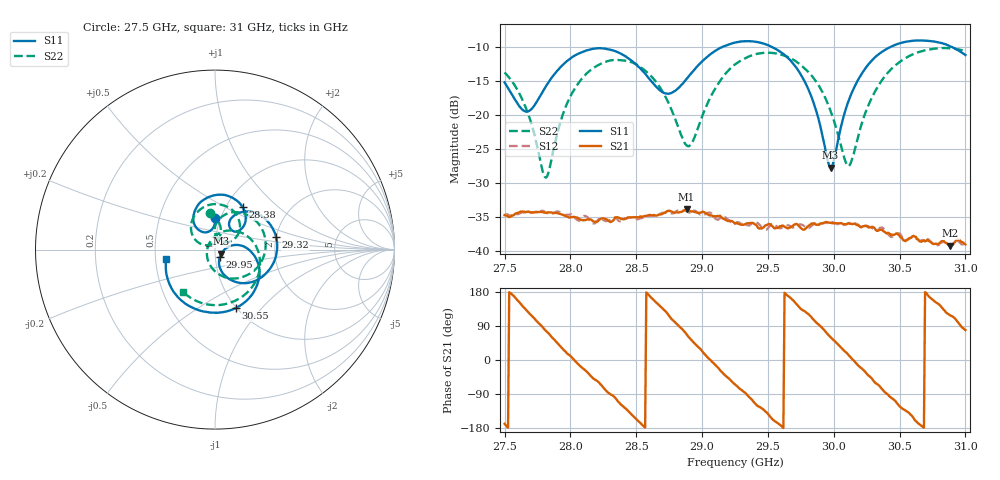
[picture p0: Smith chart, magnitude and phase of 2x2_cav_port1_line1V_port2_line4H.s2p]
!Created with skrf (http://scikit-rf.org).
# GHz S RI R 50.0
!freq ReS11 ImS11 ReS21 ImS21 ReS12 ImS12 ReS22 ImS22
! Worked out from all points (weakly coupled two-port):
!   401 points, 27.5 GHz to 31 GHz, reference 50 ohm
!   highest |S21| = -33.84 dB at 28.88 GHz (marker M1); lowest = -39.2 dB at 30.89 GHz (marker M2)
!   lowest |S11| = -27.7 dB at 29.98 GHz (marker M3), VSWR 1.09, Z = 53.5 - j2.37 ohm
!   |S11| at or under -10 dB: start of sweep to 29.16 GHz; 29.53 GHz to 30.43 GHz (905.1 MHz wide, 3.02 % of centre); 30.89454 GHz to end of sweep
!   |S22| runs from -29.2 to -10.2 dB; largest |S21 - S12| = 0.0015
!   S11 on the Smith chart (normalised r, x): 27.5 GHz: 0.94, +0.34; 28.38 GHz: 1.19, +0.61; 29.32 GHz: 2.00, +0.32; 29.95 GHz: 1.05, -0.08; 30.55 GHz: 1.00, -0.73; 31 GHz: 0.57, -0.06
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27.5  -0.00204 0.1733  -0.0181 -0.00371  -0.0183 -0.00401  -0.0305 0.2027
27.66625  -0.0371 0.099  -0.0128 0.0148  -0.0129 0.0145  0.0332 0.1047
27.815  -0.1056 0.1245  0.00444 0.0187  0.00516 0.0185  -0.0164 0.0306
27.955  -0.1141 0.2105  0.0167 0.00761  0.0169 0.00745  -0.0996 0.0447
28.08625  -0.053 0.2838  0.0161 -0.00572  0.0167 -0.00525  -0.134 0.1269
28.38375  0.1541 0.2355  -0.00803 -0.0154  -0.00747 -0.0147  0.0304 0.2509
28.6725  0.117 0.0997  -0.0153 0.0107  -0.0154 0.0105  0.1331 0.0957
28.8825  0.0836 0.164  0.00768 0.0188  0.00805 0.0179  0.0364 0.0475
29.06625  0.1832 0.2124  0.0184 -0.000282  0.0192 -0.000772  0.00329 0.1367
29.25  0.3126 0.1327  0.0069 -0.0145  0.00725 -0.0142  0.1071 0.2092
29.32  0.3401 0.0706  0.00138 -0.0157  0.00116 -0.0156  0.1649 0.1989
29.635  0.2014 -0.1818  -0.0149 0.00151  -0.0153 0.00136  0.2648 -0.0546
29.83625  0.039 -0.1256  -0.00557 0.0151  -0.0056 0.0145  0.1045 -0.1615
29.95  0.0264 -0.0402  0.00566 0.0154  0.00536 0.0152  0.00327 -0.1241
29.97625  0.0347 -0.0221  0.00808 0.0141  0.00794 0.0143  -0.0141 -0.106
30.11625  0.1271 0.0258  0.0158 0.00328  0.0158 0.00357  -0.0393 0.0159
30.265  0.2303 -0.0529  0.0113 -0.00989  0.0114 -0.00997  0.0582 0.1039
30.4225  0.2271 -0.2146  -0.00142 -0.0135  -0.00151 -0.013  0.2032 0.0542
30.55375  0.1176 -0.3247  -0.00855 -0.00856  -0.00885 -0.00834  0.2508 -0.082
30.71125  -0.0796 -0.3409  -0.0121 0.00155  -0.0121 0.00202  0.1682 -0.249
30.88625  -0.2523 -0.1953  -0.00507 0.00978  -0.00517 0.0098  -0.045 -0.3051
31  -0.2705 -0.0504  0.00215 0.011  0.00172 0.0112  -0.1797 -0.2347
